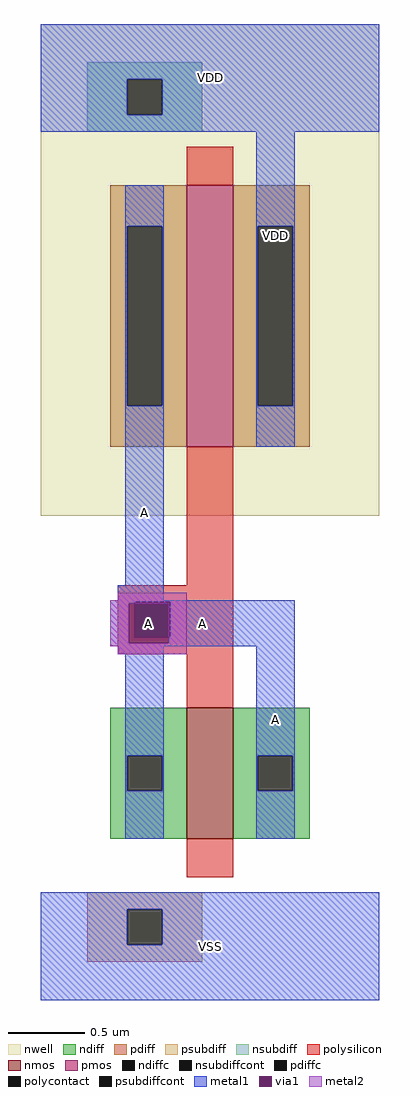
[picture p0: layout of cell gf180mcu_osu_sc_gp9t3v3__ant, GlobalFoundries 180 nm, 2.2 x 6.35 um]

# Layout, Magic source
magic
tech gf180mcuA
magscale 1 10
<< nwell >>
rect 0 630 440 1270
<< nmos >>
rect 190 210 250 380
<< pmos >>
rect 190 720 250 1060
<< ndiff >>
rect 90 318 190 380
rect 90 272 112 318
rect 158 272 190 318
rect 90 210 190 272
rect 250 318 350 380
rect 250 272 282 318
rect 328 272 350 318
rect 250 210 350 272
<< pdiff >>
rect 90 1007 190 1060
rect 90 773 112 1007
rect 158 773 190 1007
rect 90 720 190 773
rect 250 1007 350 1060
rect 250 773 282 1007
rect 328 773 350 1007
rect 250 720 350 773
<< ndiffc >>
rect 112 272 158 318
rect 282 272 328 318
<< pdiffc >>
rect 112 773 158 1007
rect 282 773 328 1007
<< psubdiff >>
rect 60 118 210 140
rect 60 72 112 118
rect 158 72 210 118
rect 60 50 210 72
<< nsubdiff >>
rect 60 1198 210 1220
rect 60 1152 112 1198
rect 158 1152 210 1198
rect 60 1130 210 1152
<< psubdiffcont >>
rect 112 72 158 118
<< nsubdiffcont >>
rect 112 1152 158 1198
<< polysilicon >>
rect 190 1060 250 1110
rect 190 540 250 720
rect 100 518 250 540
rect 100 472 122 518
rect 168 472 250 518
rect 100 450 250 472
rect 190 380 250 450
rect 190 160 250 210
<< polycontact >>
rect 122 472 168 518
<< metal1 >>
rect 0 1198 440 1270
rect 0 1152 112 1198
rect 158 1152 440 1198
rect 0 1130 440 1152
rect 110 1007 160 1060
rect 110 773 112 1007
rect 158 773 160 1007
rect 110 540 160 773
rect 280 1007 330 1130
rect 280 773 282 1007
rect 328 773 330 1007
rect 280 720 330 773
rect 100 520 160 540
rect 90 518 330 520
rect 90 516 122 518
rect 90 464 114 516
rect 168 472 330 518
rect 166 464 330 472
rect 90 460 330 464
rect 100 450 160 460
rect 110 318 160 450
rect 110 272 112 318
rect 158 272 160 318
rect 110 210 160 272
rect 280 318 330 460
rect 280 272 282 318
rect 328 272 330 318
rect 280 210 330 272
rect 0 118 440 140
rect 0 72 112 118
rect 158 72 440 118
rect 0 0 440 72
<< via1 >>
rect 114 472 122 516
rect 122 472 166 516
rect 114 464 166 472
<< metal2 >>
rect 100 520 190 530
rect 90 516 190 520
rect 90 464 114 516
rect 166 464 190 516
rect 90 460 190 464
rect 100 450 190 460
<< labels >>
rlabel via1 s 114 464 166 516 4 A
port 1 nsew signal input
rlabel metal1 s 280 720 330 1270 4 VDD
port 2 nsew power bidirectional abutment
rlabel metal1 s 0 0 440 140 4 VSS
port 3 nsew ground bidirectional abutment
rlabel metal1 s 0 1130 440 1270 1 VDD
port 2 nsew power bidirectional abutment
rlabel metal2 s 90 460 190 520 1 A
port 1 nsew signal input
rlabel metal2 s 100 450 190 530 1 A
port 1 nsew signal input
rlabel metal1 s 100 450 160 540 1 A
port 1 nsew signal input
rlabel metal1 s 110 210 160 1060 1 A
port 1 nsew signal input
rlabel metal1 s 280 210 330 520 1 A
port 1 nsew signal input
rlabel metal1 s 90 460 330 520 1 A
port 1 nsew signal input
<< properties >>
string FIXED_BBOX 0 0 440 1270
string GDS_END 39244
string GDS_FILE $PDKPATH/libs.ref/gf180mcu_osu_sc_gp9t3v3/gds/gf180mcu_osu_sc_gp9t3v3.gds
string GDS_START 36562
string LEFclass CORE
string LEFsite gf180mcu_osu_sc_gp9t3v3
string LEFsymmetry X Y
<< end >>
